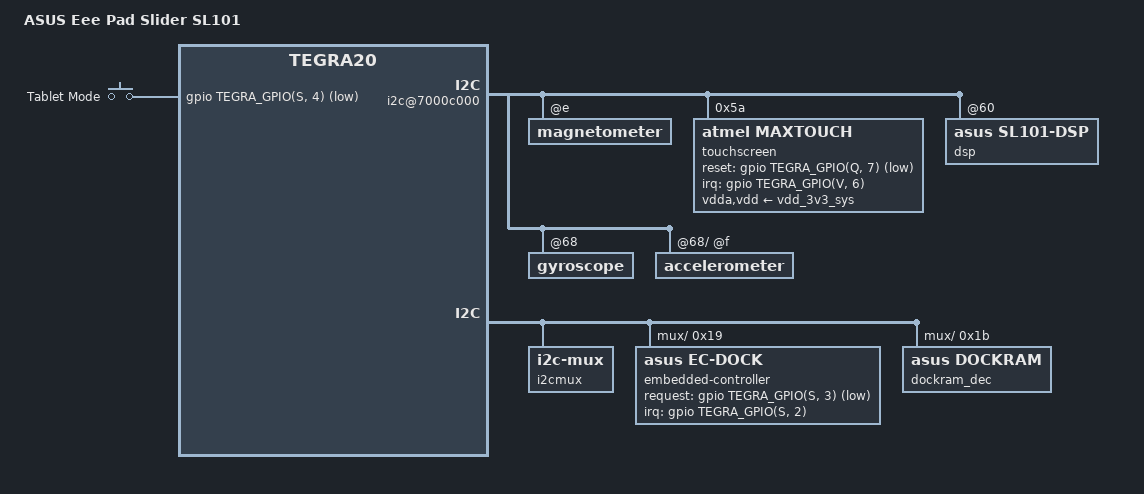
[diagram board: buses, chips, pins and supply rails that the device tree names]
// SPDX-License-Identifier: GPL-2.0
/dts-v1/;

#include "tegra20-asus-transformer-common.dtsi"

/ {
	model = "ASUS Eee Pad Slider SL101";
	compatible = "asus,sl101", "nvidia,tegra20";

	i2c@7000c000 {
		magnetometer@e {
			mount-matrix =  "1",  "0",  "0",
					"0", "-1",  "0",
					"0",  "0",  "1";
		};

		/* Atmel MXT1386 Touchscreen */
		touchscreen@5a {
			compatible = "atmel,maxtouch";
			reg = <0x5a>;

			interrupt-parent = <&gpio>;
			interrupts = <TEGRA_GPIO(V, 6) IRQ_TYPE_LEVEL_LOW>;

			reset-gpios = <&gpio TEGRA_GPIO(Q, 7) GPIO_ACTIVE_LOW>;

			vdda-supply = <&vdd_3v3_sys>;
			vdd-supply  = <&vdd_3v3_sys>;

			atmel,wakeup-method = <ATMEL_MXT_WAKEUP_I2C_SCL>;
		};

		dsp@60 {
			compatible = "asus,sl101-dsp", "fortemedia,fm34";
		};

		gyroscope@68 {
			mount-matrix =	 "0",  "1",  "0",
					"-1",  "0",  "0",
					 "0",  "0",  "1";

			i2c-gate {
				accelerometer@f {
					mount-matrix =	 "1",  "0",  "0",
							 "0", "-1",  "0",
							 "0",  "0",  "1";
				};
			};
		};
	};

	i2cmux {
		i2c@1 {
			embedded-controller@19 {
				compatible = "asus,ec-dock";
				reg = <0x19>;

				interrupt-parent = <&gpio>;
				interrupts = <TEGRA_GPIO(S, 2) IRQ_TYPE_LEVEL_LOW>;

				request-gpio = <&gpio TEGRA_GPIO(S, 3) GPIO_ACTIVE_LOW>;
				asus,dockram = <&dockram_dec>;

				battery {
					compatible = "asus,ec-battery";
					status = "disabled";
				};

				charger {
					compatible = "asus,ec-charger";
					status = "disabled";
				};

				keyboard-ext {
					compatible = "asus,ec-keys";
					status = "disabled";
				};

				led {
					compatible = "asus,ec-led";
					status = "disabled";
				};

				serio {
					compatible = "asus,ec-kbc";
				};
			};

			dockram_dec: dockram@1b {
				compatible = "asus,dockram";
				reg = <0x1b>;
			};
		};
	};

	extcon-keys {
		compatible = "gpio-keys";

		switch-tablet-mode {
			label = "Tablet Mode";
			gpios = <&gpio TEGRA_GPIO(S, 4) GPIO_ACTIVE_LOW>;
			linux,input-type = <EV_SW>;
			linux,code = <SW_TABLET_MODE>;
			debounce-interval = <500>;
			wakeup-event-action = <EV_ACT_ASSERTED>;
			wakeup-source;
		};
	};
};
